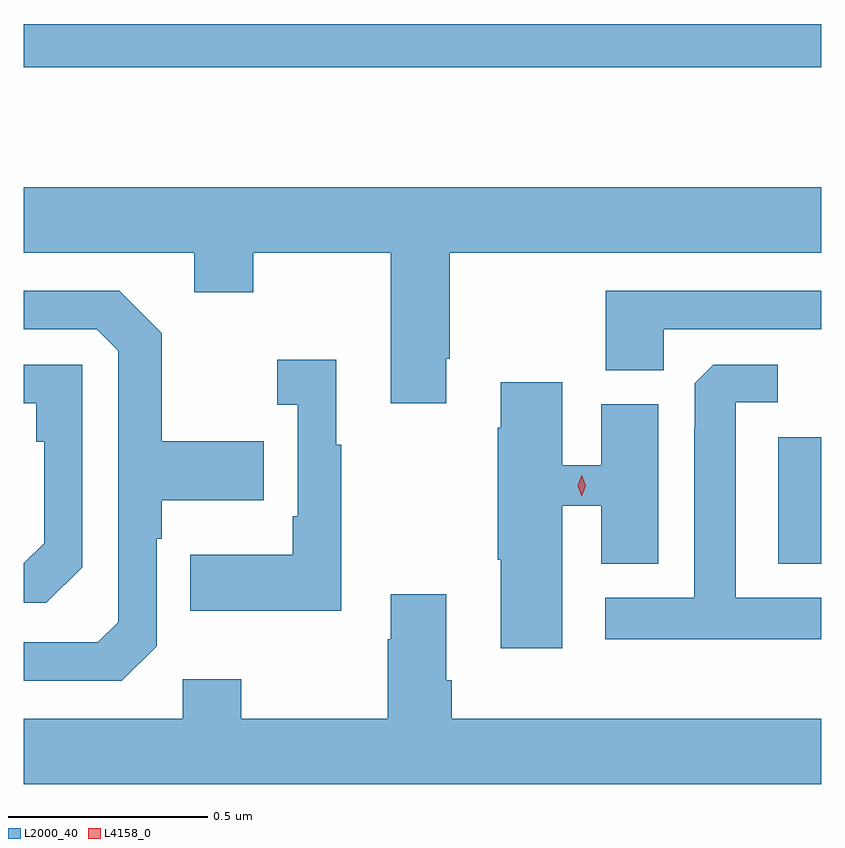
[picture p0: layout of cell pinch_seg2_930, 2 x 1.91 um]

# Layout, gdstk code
import gdstk
lib = gdstk.Library(unit=1e-6, precision=1e-09)
def R(c, l, rs):  # rectangles x0, y0, x1, y1
    for r in rs: c.add(gdstk.rectangle(r[:2], r[2:], *l))
def P(c, l, *ps):  # polygons
    for p in ps: c.add(gdstk.Polygon(p, *l))
L2000_40 = (2000, 40)
L4158_0 = (4158, 0)

pinch_seg2_930 = lib.new_cell('pinch_seg2_930')
R(pinch_seg2_930, L2000_40, [(409.115,636.2,409.223,636.517), (407.223,637.446,409.223,637.554)])
P(pinch_seg2_930, L2000_40, [(408.283,636.715),(408.291,636.715),(408.291,636.98),(409.223,636.98),(409.223,637.144),(407.223,637.144),(407.223,636.98),(407.651,636.98),(407.651,636.881),(407.799,636.881),(407.799,636.98),(408.143,636.98),(408.143,636.603),(408.283,636.603)],
  [(408.828,636.789),(409.223,636.789),(409.223,636.885),(408.682,636.885),(408.682,636.686),(408.828,636.686)],
  [(407.556,635.994),(407.556,636.263),(407.569,636.263),(407.569,636.359),(407.825,636.359),(407.825,636.507),(407.569,636.507),(407.569,636.779),(407.463,636.885),(407.223,636.885),(407.223,636.789),(407.406,636.789),(407.46,636.735),(407.46,636.054),(407.409,636.003),(407.223,636.003),(407.223,635.907),(407.469,635.907)],
  [(408.019,636.499),(408.007,636.499),(408.007,636.712),(407.859,636.712),(407.859,636.599),(407.91,636.599),(407.91,636.319),(407.898,636.319),(407.898,636.223),(407.641,636.223),(407.641,636.083),(408.019,636.083)],
  [(409.223,636.115),(409.009,636.115),(409.009,636.606),(409.114,636.606),(409.114,636.699),(408.952,636.699),(408.906,636.653),(408.906,636.542),(408.905,636.542),(408.905,636.115),(408.681,636.115),(408.681,636.011),(409.223,636.011)],
  [(407.37,636.192),(407.37,636.699),(407.223,636.699),(407.223,636.603),(407.254,636.603),(407.254,636.506),(407.274,636.506),(407.274,636.252),(407.223,636.201),(407.223,636.102),(407.28,636.102)],
  [(408.574,636.346),(408.671,636.346),(408.671,636.2),(408.814,636.2),(408.814,636.601),(408.671,636.601),(408.671,636.447),(408.574,636.447),(408.574,636.655),(408.419,636.655),(408.419,636.542),(408.412,636.542),(408.412,636.211),(408.419,636.211),(408.419,635.988),(408.574,635.988)],
  [(409.223,635.812),(408.296,635.812),(408.296,635.908),(408.283,635.908),(408.283,636.124),(408.143,636.124),(408.143,636.011),(408.136,636.011),(408.136,635.812),(407.769,635.812),(407.769,635.911),(407.622,635.911),(407.622,635.812),(407.223,635.812),(407.223,635.648),(409.223,635.648)])
P(pinch_seg2_930, L4158_0, [(408.622,636.37),(408.622,636.37),(408.612,636.396),(408.622,636.422),(408.622,636.422),(408.622,636.422),(408.632,636.396),(408.622,636.37)])

lib.write_gds('pinch_seg2_930.gds')
